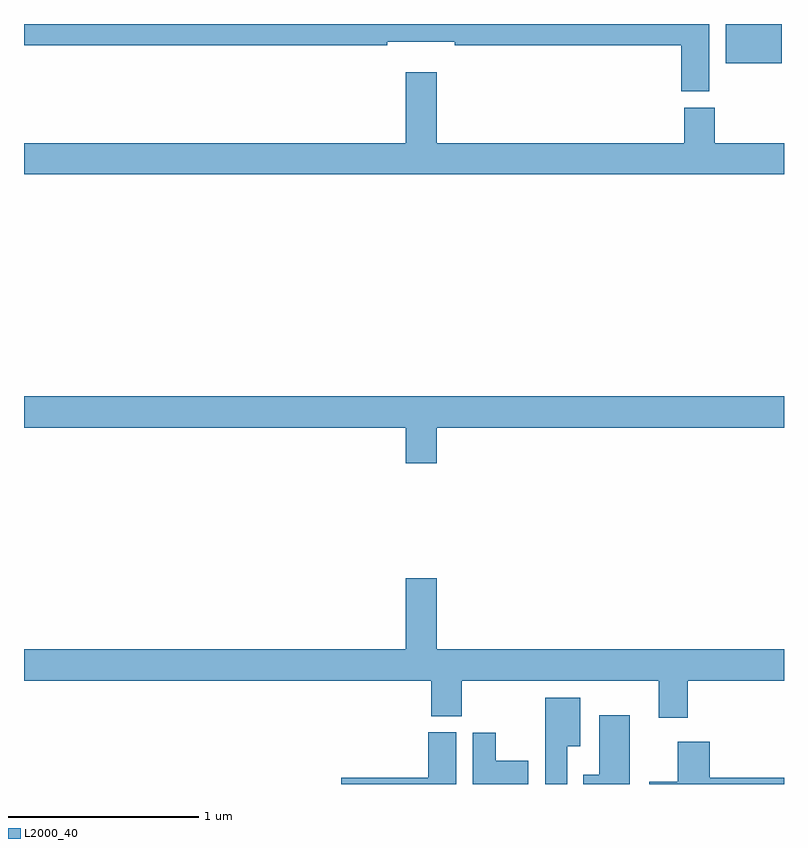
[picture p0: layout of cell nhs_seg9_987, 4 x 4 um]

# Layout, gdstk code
import gdstk
lib = gdstk.Library(unit=1e-6, precision=1e-09)
def R(c, l, rs):  # rectangles x0, y0, x1, y1
    for r in rs: c.add(gdstk.rectangle(r[:2], r[2:], *l))
def P(c, l, *ps):  # polygons
    for p in ps: c.add(gdstk.Polygon(p, *l))
L2000_40 = (2000, 40)

nhs_seg9_987 = lib.new_cell('nhs_seg9_987')
R(nhs_seg9_987, L2000_40, [(166.694,1242.293,166.987,1242.5)])
P(nhs_seg9_987, L2000_40, [(166.606,1242.5),(163,1242.5),(163,1242.388),(164.912,1242.388),(164.912,1242.407),(165.268,1242.407),(165.268,1242.388),(166.46,1242.388),(166.46,1242.145),(166.606,1242.145)],
  [(167,1241.872),(166.635,1241.872),(166.635,1242.06),(166.475,1242.06),(166.475,1241.872),(165.172,1241.872),(165.172,1242.247),(165.008,1242.247),(165.008,1241.872),(163,1241.872),(163,1241.708),(167,1241.708)],
  [(165.172,1240.376),(167,1240.376),(167,1240.54),(163,1240.54),(163,1240.376),(165.008,1240.376),(165.008,1240.188),(165.172,1240.188)],
  [(166.493,1239.044),(167,1239.044),(167,1239.208),(165.172,1239.208),(165.172,1239.583),(165.008,1239.583),(165.008,1239.208),(163,1239.208),(163,1239.044),(165.143,1239.044),(165.143,1238.857),(165.303,1238.857),(165.303,1239.044),(166.34,1239.044),(166.34,1238.85),(166.493,1238.85)],
  [(165.859,1238.699),(165.928,1238.699),(165.928,1238.953),(165.743,1238.953),(165.743,1238.5),(165.859,1238.5)],
  [(166.189,1238.863),(166.028,1238.863),(166.028,1238.548),(165.944,1238.548),(165.944,1238.5),(166.189,1238.5)],
  [(165.274,1238.772),(165.128,1238.772),(165.128,1238.534),(164.67,1238.534),(164.67,1238.5),(165.274,1238.5)],
  [(165.655,1238.623),(165.484,1238.623),(165.484,1238.77),(165.362,1238.77),(165.362,1238.5),(165.655,1238.5)],
  [(167,1238.534),(166.61,1238.534),(166.61,1238.722),(166.442,1238.722),(166.442,1238.511),(166.29,1238.511),(166.29,1238.5),(167,1238.5)])

lib.write_gds('nhs_seg9_987.gds')
